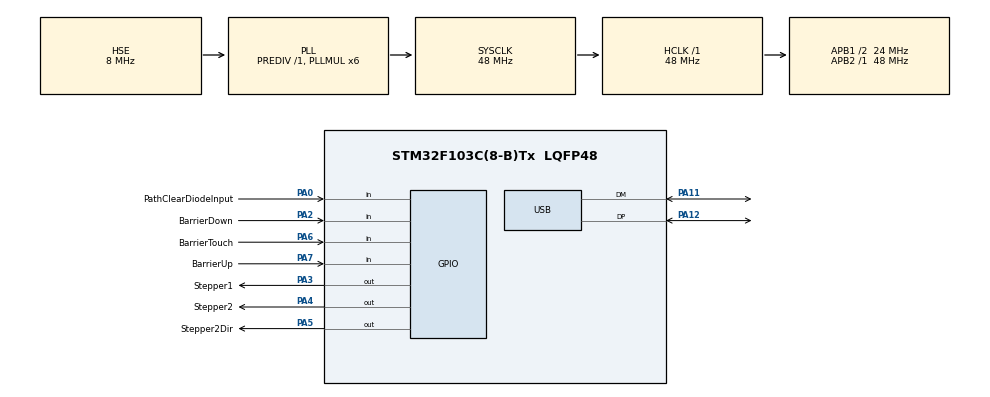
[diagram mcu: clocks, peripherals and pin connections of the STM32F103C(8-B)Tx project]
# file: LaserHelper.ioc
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FREERTOS.Tasks01=defaultTask,24,128,StartDefaultTask,Default,NULL
Mcu.Family=STM32F1
Mcu.Name=STM32F103C(8-B)Tx
Mcu.Package=LQFP48
NVIC.PriorityGroup=NVIC_PRIORITYGROUP_4
NVIC.TIM1_UP_IRQn=true\:0\:0\:false\:false\:true\:false\:false\:true
NVIC.TimeBase=TIM1_UP_IRQn
NVIC.TimeBaseIP=TIM1
NVIC.USB_LP_CAN1_RX0_IRQn=true\:5\:0\:false\:false\:true\:true\:false\:true
PA0-WKUP.GPIO_Label=PathClearDiodeInput
PA0-WKUP.Signal=GPIO_Input
PA11.Mode=Device
PA11.Signal=USB_DM
PA12.Mode=Device
PA12.Signal=USB_DP
PA13.Mode=Serial_Wire
PA13.Signal=SYS_JTMS-SWDIO
PA14.Mode=Serial_Wire
PA14.Signal=SYS_JTCK-SWCLK
PA2.GPIO_Label=BarrierDown
PA2.GPIO_PuPd=GPIO_PULLUP
PA2.Signal=GPIO_Input
PA3.GPIO_Label=Stepper1
PA3.Signal=GPIO_Output
PA4.GPIO_Label=Stepper2
PA4.Signal=GPIO_Output
PA5.GPIO_Label=Stepper2Dir
PA5.Signal=GPIO_Output
PA6.GPIO_Label=BarrierTouch
PA6.GPIO_PuPd=GPIO_PULLUP
PA6.Signal=GPIO_Input
PA7.GPIO_Label=BarrierUp
PA7.GPIO_PuPd=GPIO_PULLUP
PA7.Signal=GPIO_Input
PD0-OSC_IN.Mode=HSE-External-Oscillator
PD0-OSC_IN.Signal=RCC_OSC_IN
PD1-OSC_OUT.Mode=HSE-External-Oscillator
PD1-OSC_OUT.Signal=RCC_OSC_OUT
ProjectManager.HeapSize=0x200
ProjectManager.StackSize=0x400
ProjectManager.TargetToolchain=Makefile
RCC.ADCPresc=RCC_ADCPCLK2_DIV4
RCC.AHBFreq_Value=48000000
RCC.APB1CLKDivider=RCC_HCLK_DIV2
RCC.APB1Freq_Value=24000000
RCC.APB1TimFreq_Value=48000000
RCC.APB2Freq_Value=48000000
RCC.APB2TimFreq_Value=48000000
RCC.HCLKFreq_Value=48000000
RCC.PLLMUL=RCC_PLL_MUL6
RCC.PLLSourceVirtual=RCC_PLLSOURCE_HSE
RCC.SYSCLKFreq_VALUE=48000000
RCC.SYSCLKSource=RCC_SYSCLKSOURCE_PLLCLK
RCC.USBFreq_Value=48000000
USB_DEVICE.CLASS_NAME_FS=CDC
USB_DEVICE.MANUFACTURER_STRING=Rhal
USB_DEVICE.VirtualMode=Cdc
USB_DEVICE.VirtualModeFS=Cdc_FS
VP_FREERTOS_VS_CMSIS_V2.Mode=CMSIS_V2
VP_SYS_VS_tim1.Mode=TIM1
VP_USB_DEVICE_VS_USB_DEVICE_CDC_FS.Mode=CDC_FS
board=custom

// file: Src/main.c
/* USER CODE BEGIN Header */
/**
  ******************************************************************************
  * @file           : main.c
  * @brief          : Main program body
  ******************************************************************************
  * @attention
  *
  * <h2><center>&copy; Copyright (c) 2020 STMicroelectronics.
  * All rights reserved.</center></h2>
  *
  * This software component is licensed by ST under Ultimate Liberty license
  * SLA0044, the "License"; You may not use this file except in compliance with
  * the License. You may obtain a copy of the License at:
  *                             www.st.com/SLA0044
  *
  ******************************************************************************
  */
/* USER CODE END Header */

#include "main.h"
#include "cmsis_os.h"
#include "usb_device.h"
#include "gpio.h"

void SystemClock_Config(void);
void MX_FREERTOS_Init(void);

int main(void)
{

  /* MCU Configuration--------------------------------------------------------*/

  /* Reset of all peripherals, Initializes the Flash interface and the Systick. */
  HAL_Init();

  /* Configure the system clock */
  SystemClock_Config();

  /* Initialize all configured peripherals */
  MX_GPIO_Init();

  /* Call init function for freertos objects (in freertos.c) */
  MX_FREERTOS_Init();
  MX_USB_DEVICE_Init();

  /* Start scheduler */
  osKernelStart();

  /* We should never get here as control is now taken by the scheduler */

  /* Infinite loop */
  while (1)
  {

  }
}

void SystemClock_Config(void)
{
  RCC_OscInitTypeDef RCC_OscInitStruct = {0};
  RCC_ClkInitTypeDef RCC_ClkInitStruct = {0};
  RCC_PeriphCLKInitTypeDef PeriphClkInit = {0};

  /** Initializes the CPU, AHB and APB busses clocks
  */
  RCC_OscInitStruct.OscillatorType = RCC_OSCILLATORTYPE_HSE;
  RCC_OscInitStruct.HSEState = RCC_HSE_ON;
  RCC_OscInitStruct.HSEPredivValue = RCC_HSE_PREDIV_DIV1;
  RCC_OscInitStruct.HSIState = RCC_HSI_ON;
  RCC_OscInitStruct.PLL.PLLState = RCC_PLL_ON;
  RCC_OscInitStruct.PLL.PLLSource = RCC_PLLSOURCE_HSE;
  RCC_OscInitStruct.PLL.PLLMUL = RCC_PLL_MUL6;
  if (HAL_RCC_OscConfig(&RCC_OscInitStruct) != HAL_OK)
  {
    Error_Handler();
  }
  /** Initializes the CPU, AHB and APB busses clocks
  */
  RCC_ClkInitStruct.ClockType = RCC_CLOCKTYPE_HCLK|RCC_CLOCKTYPE_SYSCLK
                              |RCC_CLOCKTYPE_PCLK1|RCC_CLOCKTYPE_PCLK2;
  RCC_ClkInitStruct.SYSCLKSource = RCC_SYSCLKSOURCE_PLLCLK;
  RCC_ClkInitStruct.AHBCLKDivider = RCC_SYSCLK_DIV1;
  RCC_ClkInitStruct.APB1CLKDivider = RCC_HCLK_DIV2;
  RCC_ClkInitStruct.APB2CLKDivider = RCC_HCLK_DIV1;

  if (HAL_RCC_ClockConfig(&RCC_ClkInitStruct, FLASH_LATENCY_1) != HAL_OK)
  {
    Error_Handler();
  }
  PeriphClkInit.PeriphClockSelection = RCC_PERIPHCLK_USB;
  PeriphClkInit.UsbClockSelection = RCC_USBCLKSOURCE_PLL;
  if (HAL_RCCEx_PeriphCLKConfig(&PeriphClkInit) != HAL_OK)
  {
    Error_Handler();
  }
}

void HAL_TIM_PeriodElapsedCallback(TIM_HandleTypeDef *htim)
{
  if (htim->Instance == TIM1) {
    HAL_IncTick();
  }
}

void Error_Handler(void)
{
}

/************************ (C) COPYRIGHT STMicroelectronics *****END OF FILE****/

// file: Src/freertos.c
/* USER CODE BEGIN Header */
/**
  ******************************************************************************
  * File Name          : freertos.c
  * Description        : Code for freertos applications
  ******************************************************************************
  * @attention
  *
  * <h2><center>&copy; Copyright (c) 2020 STMicroelectronics.
  * All rights reserved.</center></h2>
  *
  * This software component is licensed by ST under Ultimate Liberty license
  * SLA0044, the "License"; You may not use this file except in compliance with
  * the License. You may obtain a copy of the License at:
  *                             www.st.com/SLA0044
  *
  ******************************************************************************
  */
/* USER CODE END Header */

#include "FreeRTOS.h"
#include "task.h"
#include "main.h"
#include "cmsis_os.h"

/* USER CODE BEGIN Includes */
#include "status.h"
#include "work.h"
#include "send.h"

/* USER CODE END Includes */

/* USER CODE BEGIN Variables */
osThreadId_t communicationTaskHandle;
osThreadId_t workTaskHandle;
osThreadId_t commandSenderTaskHandle;

volatile DeviceStatus status=StatusIDLE;
volatile uint32_t amount=0;
volatile uint32_t time_to_wait=0;
volatile uint32_t send_flag=0;
volatile uint8_t shootResponseReceived=0;
/* USER CODE END Variables */
osThreadId_t defaultTaskHandle;

/* USER CODE BEGIN FunctionPrototypes */
void working(void *args);
void sending(void *args);
/* USER CODE END FunctionPrototypes */

void StartDefaultTask(void *argument);

extern void MX_USB_DEVICE_Init(void);
void MX_FREERTOS_Init(void); /* (MISRA C 2004 rule 8.1) */

void MX_FREERTOS_Init(void) {
   osKernelInitialize();

  /* USER CODE BEGIN RTOS_MUTEX */

  // MX_USB_DEVICE_Init();
  /* add mutexes, ... */
  /* USER CODE END RTOS_MUTEX */

  /* Create the thread(s) */
  /* definition and creation of defaultTask */
  const osThreadAttr_t defaultTask_attributes = {
    .name = "defaultTask",
    .priority = (osPriority_t) osPriorityNormal,
    .stack_size = 128
  };
  defaultTaskHandle = osThreadNew(StartDefaultTask, NULL, &defaultTask_attributes);

  /* USER CODE BEGIN RTOS_THREADS */
  /* add threads, ... */
    const osThreadAttr_t communicationTask_attributes = {
    .name = "communicationTask",
    .priority = (osPriority_t) osPriorityNormal,
    .stack_size = 128
  };
  communicationTaskHandle = osThreadNew(sending, NULL, &defaultTask_attributes);

  const osThreadAttr_t workTask_attributes = {
    .name = "workTask",
    .priority = (osPriority_t) osPriorityNormal,
    .stack_size = 128
  };
  workTaskHandle = osThreadNew(working, NULL, &defaultTask_attributes);

  /* USER CODE END RTOS_THREADS */

}

void StartDefaultTask(void *argument)
{
  /* init code for USB_DEVICE */
  // MX_USB_DEVICE_Init();
  /* USER CODE BEGIN StartDefaultTask */
  /* Infinite loop */
  for(;;)
  {
    osDelay(1000);
  }
  /* USER CODE END StartDefaultTask */
}

/* USER CODE BEGIN Application */
void working(void *args)
{
    for(;;)
  {
    if(status==StatusWORKING)
    {
      work(&amount,time_to_wait);
    }
    else
    {
      osDelay(1000);
    }
  }
}
// void communicating(void *args)
// {

// }
void sending(void *args)
{
  while (1)
  {
    if(send_flag!=0)
      send(amount,time_to_wait,status);
    else
      osDelay(200);

  }

}
void wait(uint32_t miliseconds)
{
  osDelay(miliseconds);
}

/* USER CODE END Application */

/************************ (C) COPYRIGHT STMicroelectronics *****END OF FILE****/
